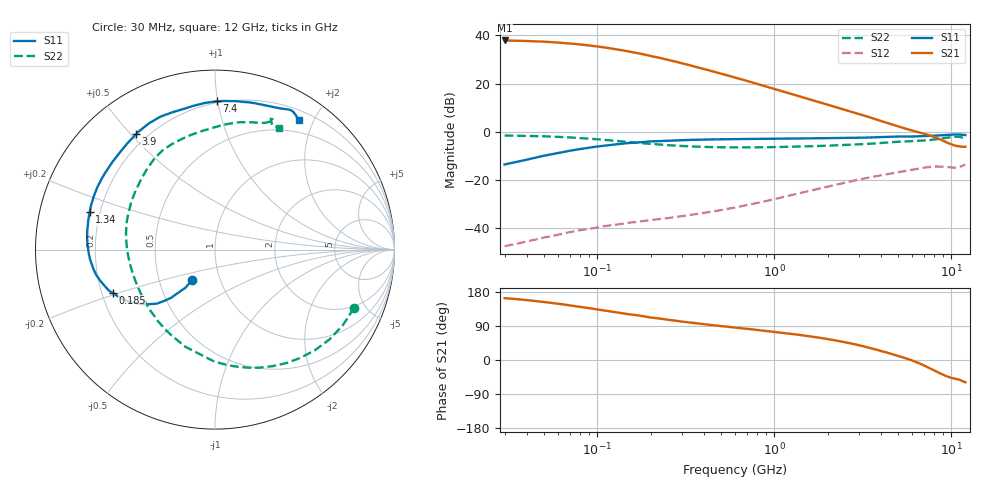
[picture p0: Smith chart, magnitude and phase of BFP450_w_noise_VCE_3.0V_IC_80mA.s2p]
! Infineon Technologies  Discrete & RF Semiconductors
! BFP450
! VCE =  3.0 V,  IC =  80 mA
! Common Emitter S-Parameters:  Nov 2015
# GHz  S  MA  R  50
!  f  S11  S21  S12  S22
! GHz  MAG  ANG  MAG  ANG  MAG  ANG  MAG  ANG
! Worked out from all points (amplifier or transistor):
!   239 points, 30 MHz to 12 GHz, reference 50 ohm
!   highest |S21| = 37.9 dB at 30 MHz (marker M1)
!   |S21| within 3 dB of that: start of sweep to 112.6 MHz
!   unconditionally stable (mu >= 1): 976.5 MHz to end of sweep
!   at 300 MHz: K = 0.66, MSG = 31.6 dB, |S12| = -34.9 dB
!   at 1.88 GHz: K = 1.09, MAG = 15.7 dB, |S12| = -23.1 dB
!   at 12 GHz: K = 1.08, MAG = 1.9 dB, |S12| = -13.5 dB
!   lowest NFmin = 1.90 dB at 450 MHz
!   S11 on the Smith chart (normalised r, x): 30 MHz: 0.73, -0.26; 185 MHz: 0.24, -0.19; 1.34 GHz: 0.16, +0.14; 3.9 GHz: 0.16, +0.52; 7.4 GHz: 0.19, +1.00; 12 GHz: 0.32, +1.79
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0.03  0.2112 -127.5  78.13 163.2  0.0043 78.8  0.8403 -22.8
0.04  0.2657 -127.6  76.12 158.1  0.0054 74.8  0.8275 -30.6
0.05  0.3206 -130.7  73.71 152.9  0.0065 70.3  0.8106 -38.1
0.06  0.3638 -132.3  70.71 148.6  0.0074 68.5  0.7905 -45.1
0.07  0.4069 -135.0  67.64 144.0  0.0084 66.1  0.7682 -51.8
0.085  0.4563 -138.5  63.12 138.5  0.0095 62.1  0.7343 -60.8
0.1  0.4974 -142.1  58.71 133.4  0.0105 59.5  0.7035 -69.2
0.125  0.5479 -147.5  52.09 126.5  0.0119 56.7  0.657 -81.1
0.15  0.5867 -152.2  46.37 120.7  0.0131 54.5  0.6195 -91.2
0.185  0.6191 -157.1  39.93 115.1  0.0144 53.3  0.5769 -102.0
0.2  0.6343 -159.0  37.31 112.1  0.0149 52.9  0.5656 -107.1
0.24  0.6534 -163.0  32.27 107.5  0.0161 52.4  0.5367 -116.5
0.3  0.6761 -167.8  26.32 101.4  0.018 52.9  0.5105 -128.2
0.36  0.6869 -171.3  22.22 97.1  0.0197 54.0  0.4952 -136.6
0.6  0.7084 179.3  13.3 85.4  0.0272 57.3  0.4769 -157.4
0.9  0.7194 171.9  8.674 76.6  0.037 58.8  0.481 -171.2
1.34  0.7291 163.3  5.647 67.2  0.0518 57.4  0.4947 175.7
1.64  0.7356 158.1  4.537 61.6  0.0617 55.1  0.5051 168.8
3.9  0.7791 124.3  1.735 25.4  0.124 30.2  0.5851 130.7
4.5  0.7941 117.5  1.462 17.2  0.1359 24.1  0.6093 123.6
7.4  0.8263 89.2  0.865 -19.8  0.1867 -6.4  0.6717 93.4
12  0.8593 57.2  0.492 -58.8  0.2113 -40.7  0.7642 62.4
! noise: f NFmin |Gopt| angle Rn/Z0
0.45  1.9  0.6  -172  0.07
0.9  1.96  0.63  -166  0.08
1.9  2.06  0.65  -150  0.14
2.4  2.15  0.65  -141  0.2
